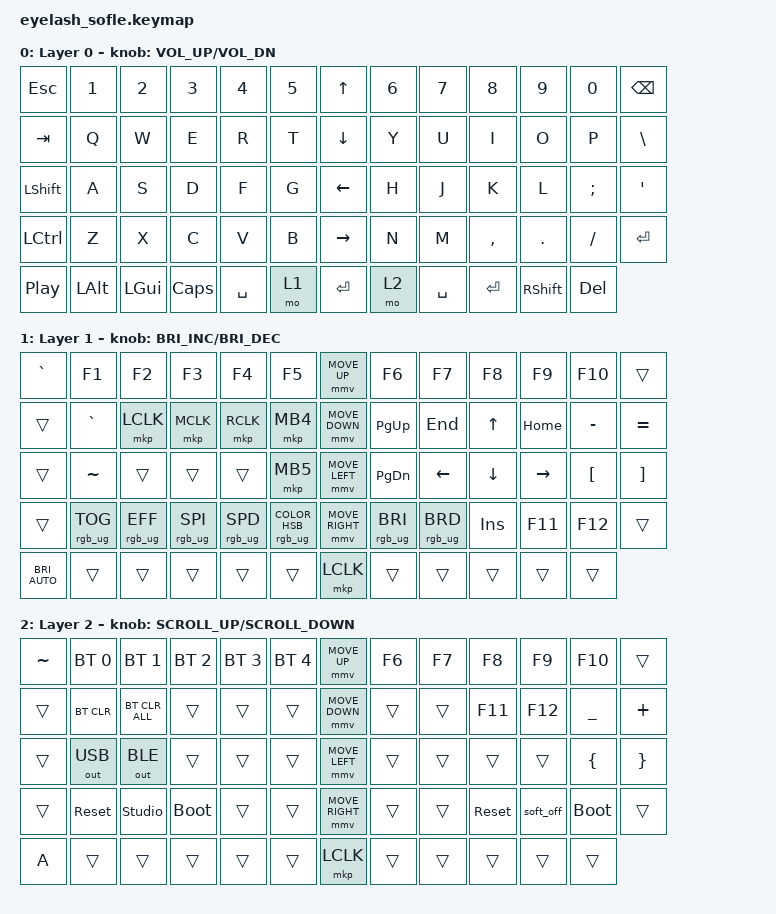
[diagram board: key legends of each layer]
#include <dt-bindings/zmk/mouse.h>
#include <input/processors.dtsi>
#include <behaviors.dtsi>
#include <dt-bindings/zmk/bt.h>
#include <dt-bindings/zmk/keys.h>
#include <dt-bindings/zmk/outputs.h>
#include <dt-bindings/zmk/pointing.h>
#include <dt-bindings/zmk/pointing.h>
#include <dt-bindings/zmk/pointing.h>
#include <dt-bindings/zmk/rgb.h>

/*

   &mmv_input_listener {
       input-processors = <&zip_xy_scaler 2 1>;
   };

   &msc_input_listener {
       input-processors = <&zip_xy_scaler 2 1>;
   };

 */

#define ZMK_MOUSE_DEFAULT_MOVE_VAL 1200  // 600
#define ZMK_MOUSE_DEFAULT_SCRL_VAL 20    // 10

/ {
    behaviors {
        mmv {
            acceleration-exponent = <1>;      // 1
            time-to-max-speed-ms = <900>;    // 40
            delay-ms = <0>;                   // 0
        };

        msc {
            acceleration-exponent = <1>;      // 0
            time-to-max-speed-ms = <400>;      // 500
            delay-ms = <0>;                   //   10
        };
    };

    scroll_encoder: scroll_encoder {
        compatible = "zmk,behavior-sensor-rotate";
        #sensor-binding-cells = <0>;
        bindings = <&msc SCRL_DOWN>, <&msc SCRL_UP>;

        tap-ms = <30>;
    };

    keymap {
        compatible = "zmk,keymap";

        LAYER0 {
            bindings = <
&kp ESC           &kp N1        &kp N2        &kp N3    &kp N4     &kp N5    &kp UP_ARROW     &kp N6  &kp N7     &kp N8     &kp N9           &kp N0      &kp BACKSPACE
&kp TAB           &kp Q         &kp W         &kp E     &kp R      &kp T     &kp DOWN_ARROW   &kp Y   &kp U      &kp I      &kp O            &kp P       &kp BSLH
&kp LEFT_SHIFT    &kp A         &kp S         &kp D     &kp F      &kp G     &kp LEFT_ARROW   &kp H   &kp J      &kp K      &kp L            &kp SEMI    &kp APOS
&kp LCTRL         &kp Z         &kp X         &kp C     &kp V      &kp B     &kp RIGHT_ARROW  &kp N   &kp M      &kp COMMA  &kp DOT          &kp FSLH    &kp ENTER
&kp C_PLAY_PAUSE  &kp LEFT_ALT  &kp LEFT_GUI  &kp CLCK  &kp SPACE  &mo 1     &kp ENTER        &mo 2   &kp SPACE  &kp ENTER  &kp RIGHT_SHIFT  &kp DELETE
            >;

            sensor-bindings = <&inc_dec_kp C_VOLUME_UP C_VOL_DN>;
            display-name = "Layer 0";
            label = "Layer 0";
        };

        LAYER1 {
            bindings = <
&kp GRAVE              &kp F1           &kp F2           &kp F3           &kp F4           &kp F5                            &mmv MOVE_UP     &kp F6           &kp F7           &kp F8      &kp F9     &kp F10           &trans
&trans                 &kp GRAVE        &mkp LCLK        &mkp MCLK        &mkp RCLK        &mkp MB4                          &mmv MOVE_DOWN   &kp PG_UP        &kp END          &kp UP      &kp HOME   &kp MINUS         &kp EQUAL
&trans                 &kp TILDE        &trans           &trans           &trans           &mkp MB5                          &mmv MOVE_LEFT   &kp PG_DN        &kp LEFT         &kp DOWN    &kp RIGHT  &kp LEFT_BRACKET  &kp RIGHT_BRACKET
&trans                 &rgb_ug RGB_TOG  &rgb_ug RGB_EFF  &rgb_ug RGB_SPI  &rgb_ug RGB_SPD  &rgb_ug RGB_COLOR_HSB(0,0,100)    &mmv MOVE_RIGHT  &rgb_ug RGB_BRI  &rgb_ug RGB_BRD  &kp INSERT  &kp F11    &kp F12           &trans
&kp C_BRIGHTNESS_AUTO  &trans           &trans           &trans           &trans           &trans                            &mkp LCLK        &trans           &trans           &trans      &trans     &trans
            >;

            display-name = "Layer 1";
            sensor-bindings = <&inc_dec_kp C_BRIGHTNESS_INC C_BRIGHTNESS_DEC>;
            label = "Layer 1";
        };

        LAYER2 {
            bindings = <
&kp TILDE  &bt BT_SEL 0  &bt BT_SEL 1    &bt BT_SEL 2  &bt BT_SEL 3  &bt BT_SEL 4    &mmv MOVE_UP     &kp F6  &kp F7  &kp F8      &kp F9     &kp F10      &trans
&trans     &bt BT_CLR    &bt BT_CLR_ALL  &trans        &trans        &trans          &mmv MOVE_DOWN   &trans  &trans  &kp F11     &kp F12    &kp UNDER    &kp PLUS
&trans     &out OUT_USB  &out OUT_BLE    &trans        &trans        &trans          &mmv MOVE_LEFT   &trans  &trans  &trans      &trans     &kp LBRC     &kp RBRC
&trans     &sys_reset    &studio_unlock  &bootloader   &trans        &trans          &mmv MOVE_RIGHT  &trans  &trans  &sys_reset  &soft_off  &bootloader  &trans
&kp A      &trans        &trans          &trans        &trans        &trans          &mkp LCLK        &trans  &trans  &trans      &trans     &trans
            >;

            sensor-bindings = <&inc_dec_kp K_SCROLL_UP K_SCROLL_DOWN>;
            label = "Layer 2";
        };
    };
};
